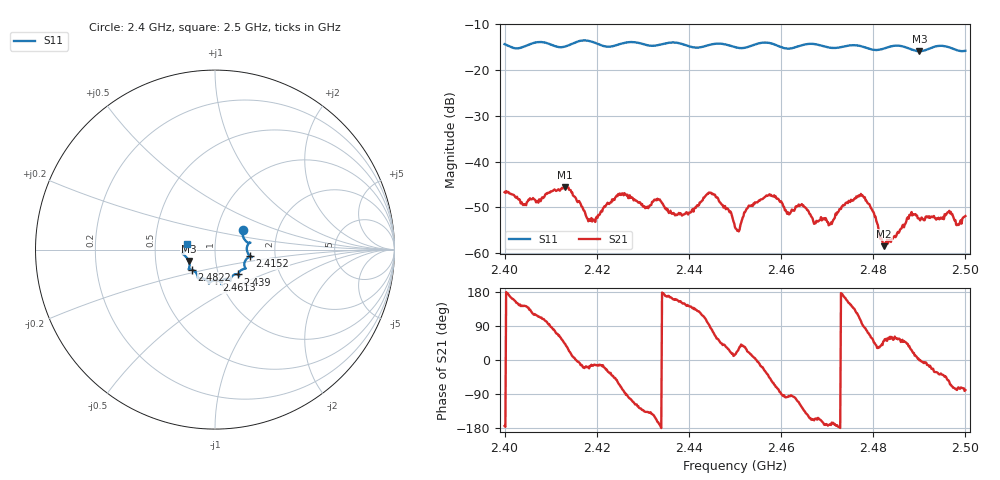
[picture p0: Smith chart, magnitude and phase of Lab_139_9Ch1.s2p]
# Hz S RI R 50
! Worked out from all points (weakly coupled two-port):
!   601 points, 2.4 GHz to 2.5 GHz, reference 50 ohm
!   highest |S21| = -45.53 dB at 2.413 GHz (marker M1); lowest = -58.4 dB at 2.4823 GHz (marker M2)
!   lowest |S11| = -15.9 dB at 2.49 GHz (marker M3), VSWR 1.38, Z = 36.9 - j4.83 ohm
!   |S11| at or under -10 dB: start of sweep to end of sweep
!   S12 and S22 are empty: the file has one direction only
!   S11 on the Smith chart (normalised r, x): 2.4 GHz: 1.33, +0.31; 2.4152 GHz: 1.48, -0.11; 2.439 GHz: 1.24, -0.36; 2.4613 GHz: 0.96, -0.34; 2.4822 GHz: 0.76, -0.17; 2.5 GHz: 0.73, +0.05
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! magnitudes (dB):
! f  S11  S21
! 2.4 GHz  -14.4  -46.7
! 2.4043 GHz  -14.9  -49.5
! 2.413 GHz  -14.9  -45.5
! 2.4152 GHz  -14.1  -47.6
! 2.4167 GHz  -13.6  -49.7
! 2.4192 GHz  -13.9  -52.7
! 2.4252 GHz  -14.3  -47.3
! 2.4333 GHz  -14.6  -48.3
! 2.439 GHz  -14.5  -51.5
! 2.4448 GHz  -14.4  -46.8
! 2.45 GHz  -15.0  -54.3
! 2.4573 GHz  -14.1  -47.3
! 2.4613 GHz  -15.4  -51.4
! 2.4643 GHz  -14.6  -49.5
! 2.4667 GHz  -14.3  -52.1
! 2.4708 GHz  -15.2  -53.3
! 2.4777 GHz  -14.9  -47.4
! 2.4822 GHz  -15.4  -58.3
! 2.4823 GHz  -15.3  -58.4
! 2.4833 GHz  -15.0  -57.4
! 2.49 GHz  -15.9  -52.5
! 2.5 GHz  -15.8  -51.9
